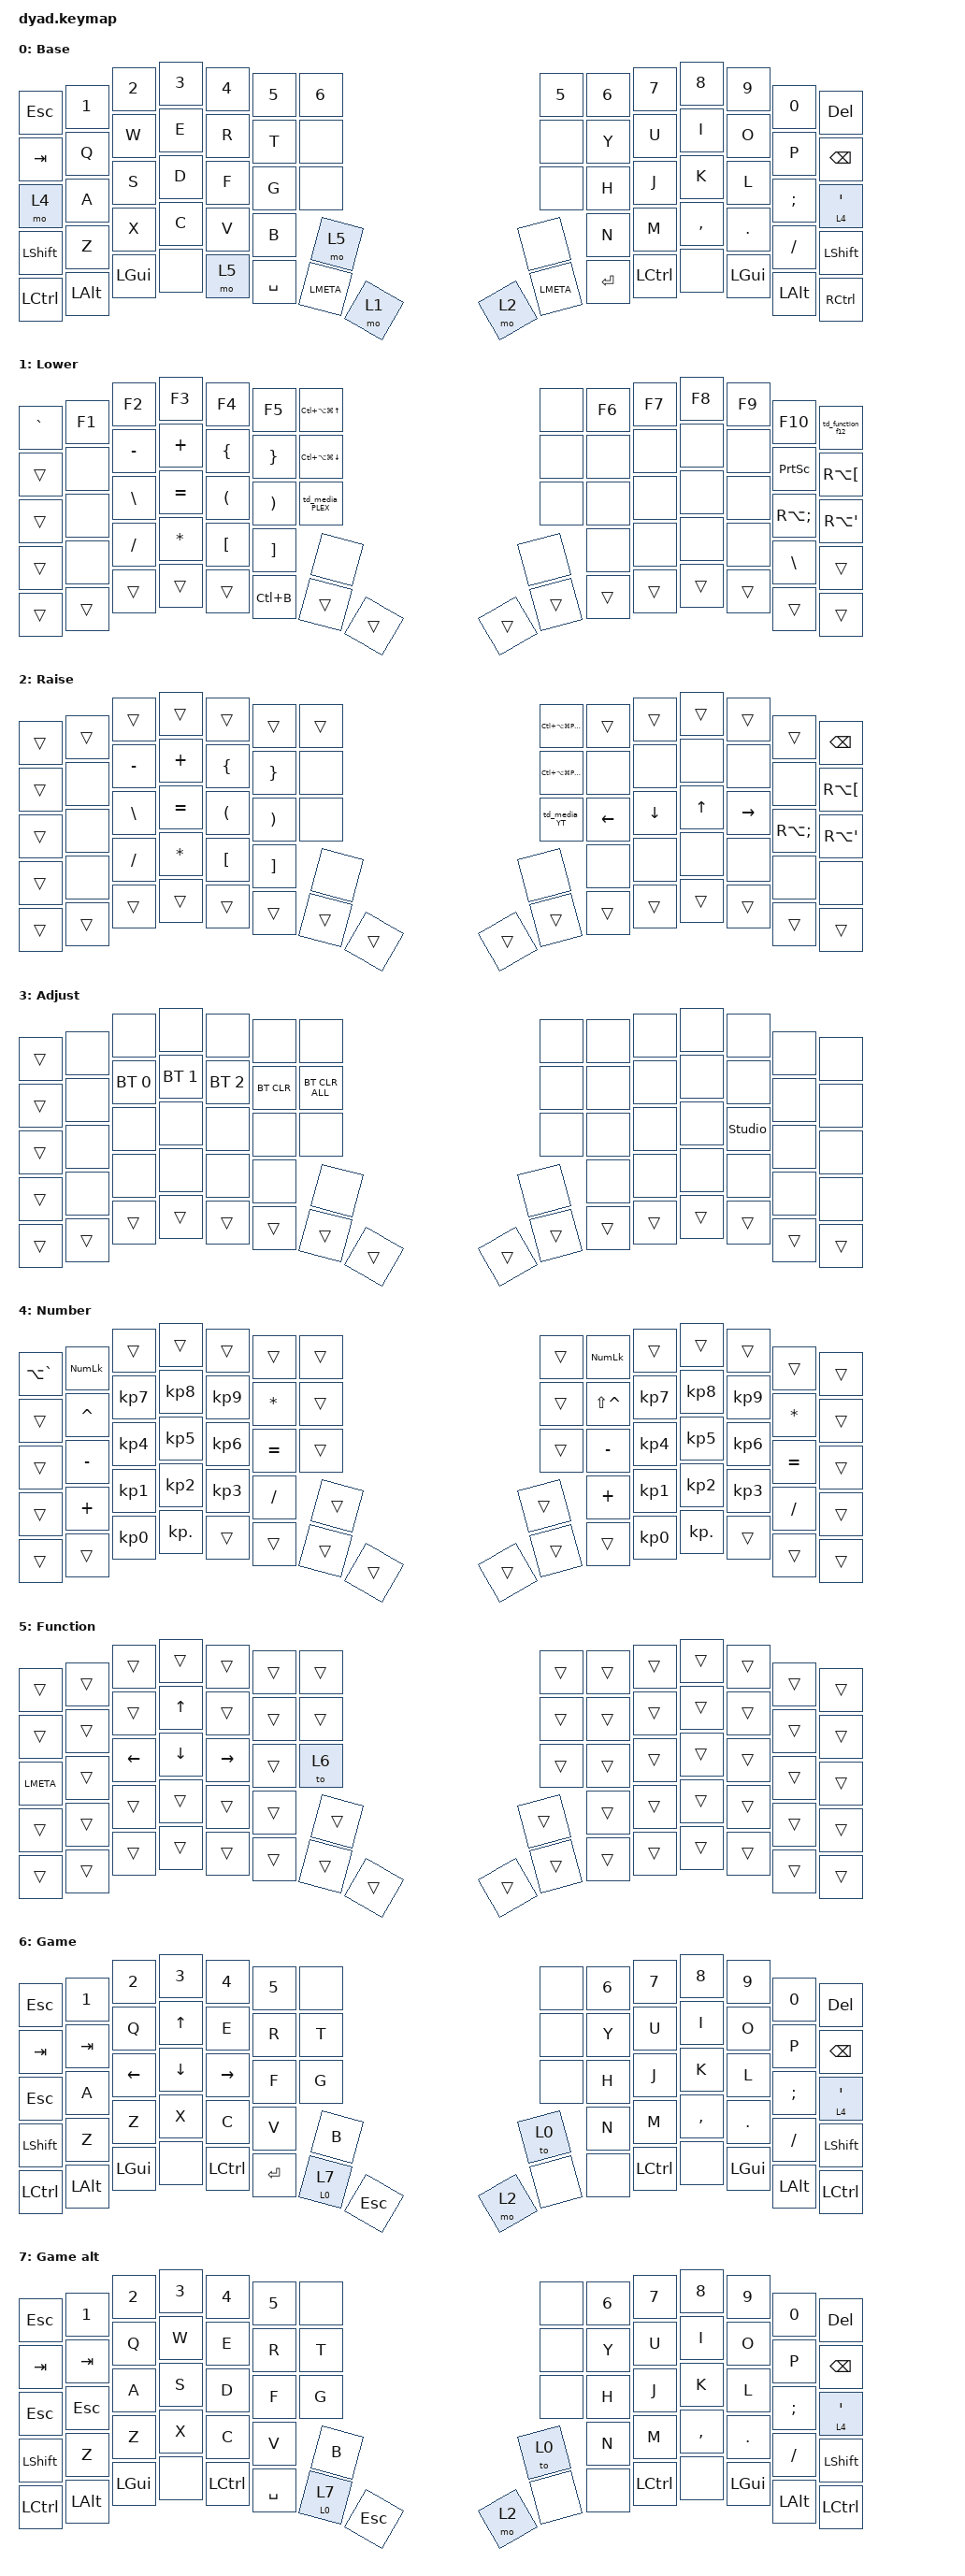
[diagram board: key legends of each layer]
#include <behaviors.dtsi>
#include <dt-bindings/zmk/bt.h>
#include <dt-bindings/zmk/keys.h>

/* layers */

#define DEFAULT 0
#define LOW     1
#define RAIS    2
#define NUM     3
#define FUN     4

/ {
    conditional_layers {
        compatible = "zmk,conditional-layers";

        tri_layer {
            if-layers = <1 2>;
            then-layer = <3>;
        };
    };

    behaviors {
        td_media_YT: td_media_YT {
            compatible = "zmk,behavior-tap-dance";
            label = "TD_MEDIA_YT";
            #binding-cells = <0>;
            bindings = <&kp LC(LA(LG(J)))>, <&kp LC(LA(LG(L)))>;
        };

        td_media_PLEX: td_media_PLEX {
            compatible = "zmk,behavior-tap-dance";
            label = "TD_MEDIA_PLEX";
            #binding-cells = <0>;
            bindings = <&kp LC(LA(LG(LEFT)))>, <&kp LC(LA(LG(RIGHT)))>;
        };

        td_function_f12: td_function_f12 {
            compatible = "zmk,behavior-tap-dance";
            label = "TD_FUNCTION_F12";
            #binding-cells = <0>;
            bindings = <&kp F11>, <&kp F12>;
        };

        td_game_layer: td_game_layer {
            compatible = "zmk,behavior-hold-tap";
            label = "TD_GAME_LAYER";
            bindings = <&to>, <&tog>;

            #binding-cells = <2>;
            tapping-term-ms = <400>;
        };
    };

    combos { compatible = "zmk,combos"; };

    keymap {
        compatible = "zmk,keymap";

        default_layer {
            display-name = "Base";
            bindings = <
&kp ESC    &kp N1    &kp N2    &kp N3  &kp N4  &kp N5     &kp N6                            &kp N5  &kp N6     &kp N7     &kp N8     &kp N9    &kp N0     &kp DEL
&kp TAB    &kp Q     &kp W     &kp E   &kp R   &kp T      &none                             &none   &kp Y      &kp U      &kp I      &kp O     &kp P      &kp BSPC
&mo 4      &kp A     &kp S     &kp D   &kp F   &kp G      &none                             &none   &kp H      &kp J      &kp K      &kp L     &kp SEMI   &lt 4 SQT
&kp LSHFT  &kp Z     &kp X     &kp C   &kp V   &kp B      &mo 5                             &none   &kp N      &kp M      &kp COMMA  &kp DOT   &kp SLASH  &kp LSHFT
&kp LCTRL  &kp LALT  &kp LGUI  &none   &mo 5   &kp SPACE  &mo 1   &kp LMETA      &kp LMETA  &mo 2   &kp ENTER  &kp LCTRL  &none      &kp LGUI  &kp LALT   &kp RIGHT_CONTROL
            >;
        };

        lower_layer {
            display-name = "Lower";
            bindings = <
&kp GRAVE  &kp F1  &kp F2         &kp F3     &kp F4    &kp F5     &kp LC(LA(LG(UP)))                        &none   &kp F6  &kp F7  &kp F8  &kp F9  &kp F10       &td_function_f12
&trans     &none   &kp MINUS      &kp PLUS   &kp LBRC  &kp RBRC   &kp LC(LA(LG(DOWN)))                      &none   &none   &none   &none   &none   &kp PSCRN     &kp RA(LBKT)
&trans     &none   &kp BACKSLASH  &kp EQUAL  &kp LPAR  &kp RPAR   &td_media_PLEX                            &none   &none   &none   &none   &none   &kp RA(SEMI)  &kp RA(SQT)
&trans     &none   &kp SLASH      &kp ASTRK  &kp LBKT  &kp RBKT   &none                                     &none   &none   &none   &none   &none   &kp BSLH      &trans
&trans     &trans  &trans         &trans     &trans    &kp LC(B)  &trans                &trans      &trans  &trans  &trans  &trans  &trans  &trans  &trans        &trans
            >;
        };

        raise_layer {
            display-name = "Raise";
            bindings = <
&trans  &trans  &trans     &trans     &trans    &trans    &trans                      &kp LC(LA(LG(PAGE_UP)))    &trans    &trans    &trans  &trans     &trans        &kp BSPC
&trans  &none   &kp MINUS  &kp PLUS   &kp LBRC  &kp RBRC  &none                       &kp LC(LA(LG(PAGE_DOWN)))  &none     &none     &none   &none      &none         &kp RA(LBKT)
&trans  &none   &kp BSLH   &kp EQUAL  &kp LPAR  &kp RPAR  &none                       &td_media_YT               &kp LEFT  &kp DOWN  &kp UP  &kp RIGHT  &kp RA(SEMI)  &kp RA(SQT)
&trans  &none   &kp FSLH   &kp STAR   &kp LBKT  &kp RBKT  &none                       &none                      &none     &none     &none   &none      &none         &none
&trans  &trans  &trans     &trans     &trans    &trans    &trans  &trans      &trans  &trans                     &trans    &trans    &trans  &trans     &trans        &trans
            >;
        };

        adjust_layer {
            display-name = "Adjust";
            bindings = <
&trans  &none   &none         &none         &none         &none       &none                               &none   &none   &none   &none   &none   &none   &none
&trans  &none   &bt BT_SEL 0  &bt BT_SEL 1  &bt BT_SEL 2  &bt BT_CLR  &bt BT_CLR_ALL                      &none   &none   &none   &none   &none   &none   &none
&trans  &none   &none         &none         &none         &none       &none                               &none   &none   &none   &none   &studio_unlock  &none   &none
&trans  &none   &none         &none         &none         &none       &none                               &none   &none   &none   &none   &none   &none   &none
&trans  &trans  &trans        &trans        &trans        &trans      &trans          &trans      &trans  &trans  &trans  &trans  &trans  &trans  &trans  &trans
            >;
        };

        number_layer {
            display-name = "Number";
            bindings = <
&kp LA(GRAVE)  &kp KP_NUM  &trans           &trans           &trans           &trans        &trans                      &trans  &kp KP_NUM     &trans           &trans           &trans           &trans     &trans
&trans         &kp CARET   &kp KP_NUMBER_7  &kp KP_NUMBER_8  &kp KP_NUMBER_9  &kp ASTERISK  &trans                      &trans  &kp LS(CARET)  &kp KP_NUMBER_7  &kp KP_NUMBER_8  &kp KP_NUMBER_9  &kp STAR   &trans
&trans         &kp MINUS   &kp KP_NUMBER_4  &kp KP_NUMBER_5  &kp KP_NUMBER_6  &kp EQUAL     &trans                      &trans  &kp MINUS      &kp KP_NUMBER_4  &kp KP_NUMBER_5  &kp KP_NUMBER_6  &kp EQUAL  &trans
&trans         &kp PLUS    &kp KP_NUMBER_1  &kp KP_NUMBER_2  &kp KP_NUMBER_3  &kp SLASH     &trans                      &trans  &kp PLUS       &kp KP_NUMBER_1  &kp KP_NUMBER_2  &kp KP_NUMBER_3  &kp FSLH   &trans
&trans         &trans      &kp KP_NUMBER_0  &kp KP_DOT       &trans           &trans        &trans  &trans      &trans  &trans  &trans         &kp KP_NUMBER_0  &kp KP_DOT       &trans           &trans     &trans
            >;
        };

        function_layer {
            display-name = "Function";
            bindings = <
&trans     &trans  &trans          &trans    &trans     &trans  &trans                      &trans  &trans  &trans  &trans  &trans  &trans  &trans
&trans     &trans  &trans          &kp UP    &trans     &trans  &trans                      &trans  &trans  &trans  &trans  &trans  &trans  &trans
&kp LMETA  &trans  &kp LEFT_ARROW  &kp DOWN  &kp RIGHT  &trans  &to 6                       &trans  &trans  &trans  &trans  &trans  &trans  &trans
&trans     &trans  &trans          &trans    &trans     &trans  &trans                      &trans  &trans  &trans  &trans  &trans  &trans  &trans
&trans     &trans  &trans          &trans    &trans     &trans  &trans  &trans      &trans  &trans  &trans  &trans  &trans  &trans  &trans  &trans
            >;
        };

        game_layer {
            display-name = "Game";
            bindings = <
&kp ESC    &kp N1    &kp N2    &kp N3    &kp N4     &kp N5     &none                                   &none  &kp N6  &kp N7     &kp N8     &kp N9    &kp N0     &kp DEL
&kp TAB    &kp TAB   &kp Q     &kp UP    &kp E      &kp R      &kp T                                   &none  &kp Y   &kp U      &kp I      &kp O     &kp P      &kp BSPC
&kp ESC    &kp A     &kp LEFT  &kp DOWN  &kp RIGHT  &kp F      &kp G                                   &none  &kp H   &kp J      &kp K      &kp L     &kp SEMI   &lt 4 SQT
&kp LSHFT  &kp Z     &kp Z     &kp X     &kp C      &kp V      &kp B                                   &to 0  &kp N   &kp M      &kp COMMA  &kp DOT   &kp SLASH  &kp LSHFT
&kp LCTRL  &kp LALT  &kp LGUI  &none     &kp LCTRL  &kp ENTER  &kp ESC  &td_game_layer 0 7      &none  &mo 2  &none   &kp LCTRL  &none      &kp LGUI  &kp LALT   &kp LCTRL
            >;
        };

        game_alt_layer {
            display-name = "Game alt";
            bindings = <
&kp ESC    &kp N1    &kp N2    &kp N3  &kp N4     &kp N5     &none                                   &none  &kp N6  &kp N7     &kp N8     &kp N9    &kp N0     &kp DEL
&kp TAB    &kp TAB   &kp Q     &kp W   &kp E      &kp R      &kp T                                   &none  &kp Y   &kp U      &kp I      &kp O     &kp P      &kp BSPC
&kp ESC    &kp ESC   &kp A     &kp S   &kp D      &kp F      &kp G                                   &none  &kp H   &kp J      &kp K      &kp L     &kp SEMI   &lt 4 SQT
&kp LSHFT  &kp Z     &kp Z     &kp X   &kp C      &kp V      &kp B                                   &to 0  &kp N   &kp M      &kp COMMA  &kp DOT   &kp SLASH  &kp LSHFT
&kp LCTRL  &kp LALT  &kp LGUI  &none   &kp LCTRL  &kp SPACE  &kp ESC  &td_game_layer 0 7      &none  &mo 2  &none   &kp LCTRL  &none      &kp LGUI  &kp LALT   &kp LCTRL
            >;
        };

        extra1 {
            status = "reserved";
        };

        extra2 {
            status = "reserved";
        };
    };
};
